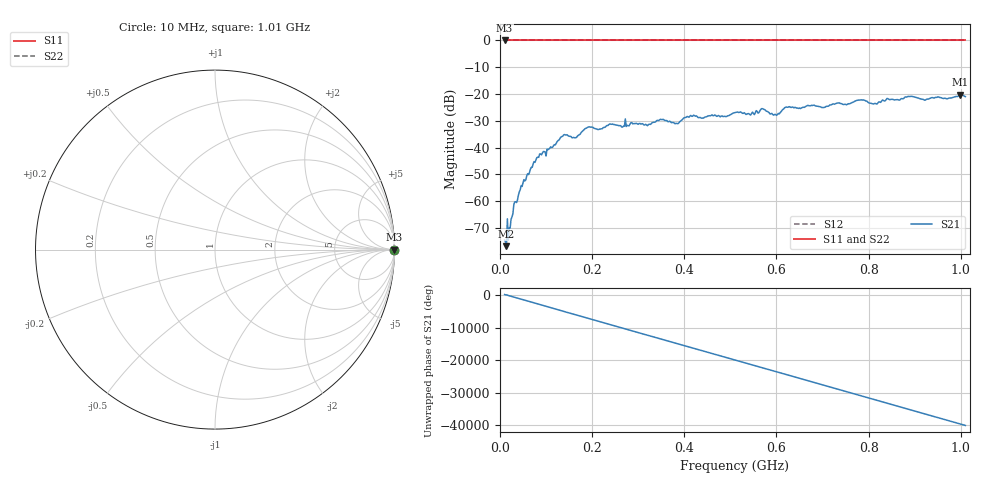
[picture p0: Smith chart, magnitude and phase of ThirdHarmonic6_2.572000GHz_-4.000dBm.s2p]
! 8/17/2025 5:23:19 AM
! C:\ANRITSUVNA\TEMP\TEMP.S2P
! CHANNEL.1
! TR.MEASUREMENT
! RAW.DATA
! RF.CORRECTION.OFF
! AVERAGING.OFF
! IF.BANDWIDTH: 5KHZ
! SWEEPTYPE:  FREQ.SWEEP(Linear)
! Reference Plane Port Info
! PORT:  PORT1  PORT2
! DISTANCE:  0  m  0  m
! TIME:  0  s  0  s
! PHASE.OFFSET:  0  deg.  0  deg.
! LOSS:  0  dB  0  dB
! REF.LOSS:  0  dB  0  dB
! REF.FREQ:  0  Hz  0  Hz
! Power Info
! POWER:  -20  dBm  -20  dBm
! EFF.POWER:  -20  dBm  -20  dBm
! SOURCE.ATTEN:  0  dB  0  dB
! TEST.ATTEN:  0  dB  0  dB
# GHZ S RI R 50.0
! FREQ.GHZ  S11RE  S11IM  S21RE  S21IM  S12RE  S12IM  S22RE  S22IM
!; PortSelection: Port_12
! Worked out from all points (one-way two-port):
!   501 points, 10 MHz to 1.01 GHz, reference 50 ohm
!   highest |S21| = -20.22 dB at 998 MHz (marker M1); lowest = -76.8 dB at 14 MHz (marker M2)
!   lowest |S11| = 0.0 dB at 10 MHz (marker M3)
!   |S11| at or under -10 dB: nowhere
!   |S22| runs from 0.0 to 0.0 dB; largest |S21 - S12| = 1.1
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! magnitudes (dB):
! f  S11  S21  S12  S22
! 10 MHz  0.0  -74.4  0.0  0.0
! 14 MHz  0.0  -76.8  0.0  0.0
! 22 MHz  0.0  -70.0  0.0  0.0
! 30 MHz  0.0  -61.2  0.0  0.0
! 48 MHz  0.0  -54.5  0.0  0.0
! 78 MHz  0.0  -44.5  0.0  0.0
! 136 MHz  0.0  -35.7  0.0  0.0
! 162 MHz  0.0  -36.3  0.0  0.0
! 178 MHz  0.0  -34.0  0.0  0.0
! 194 MHz  0.0  -32.2  0.0  0.0
! 322 MHz  0.0  -31.4  0.0  0.0
! 344 MHz  0.0  -29.9  0.0  0.0
! 384 MHz  0.0  -31.0  0.0  0.0
! 416 MHz  0.0  -28.3  0.0  0.0
! 510 MHz  0.0  -26.9  0.0  0.0
! 570 MHz  0.0  -25.5  0.0  0.0
! 598 MHz  0.0  -27.6  0.0  0.0
! 622 MHz  0.0  -24.9  0.0  0.0
! 678 MHz  0.0  -24.3  0.0  0.0
! 844 MHz  0.0  -22.0  0.0  0.0
! 998 MHz  0.0  -20.2  0.0  0.0
! 1.01 GHz  0.0  -20.9  0.0  0.0
